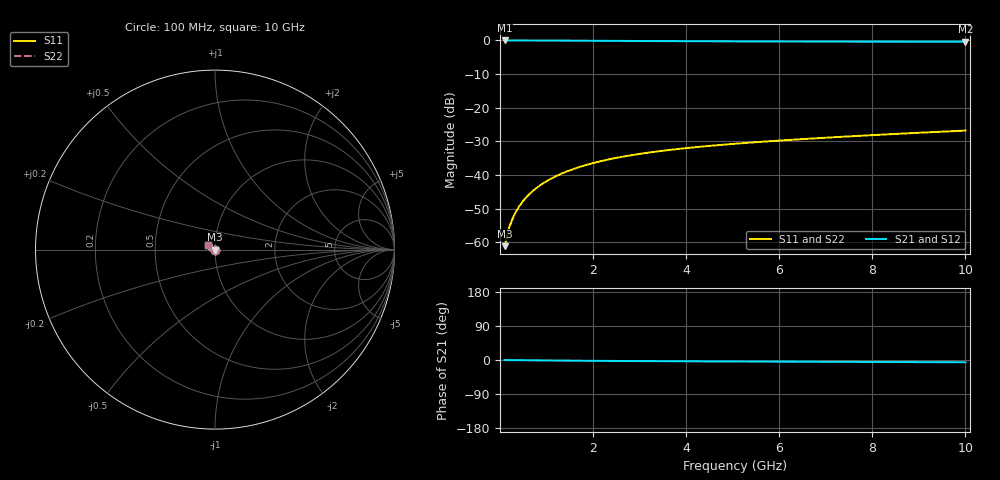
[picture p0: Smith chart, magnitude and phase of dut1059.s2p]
! Touchstone file exported from HFSS 2024.1.0
!  File:  C:/UserFiles/LocalFiles/RDL_TSV_Batchsim/temp_TSV1_1059_1780063456.aedt
!  Generated:  10:11:16 PM May 29, 2026
!  Design:  TSV1
!  Project:  temp_TSV1_1059_1780063456
!  Setup:  Setup1
!  Solution:  Sweep
! Variables:
!  dtsv = 7.1um
!  hbump = 3um
!  htsv = 89.68um
!  lrdl = 252.1521522um
!  p = 40
!  p1 = 56.28um
!  t = 500um
!  trdl = 3um
!  wrdl = 24.89489489um
# GHz S MA R 50.000000
! Terminal data exported
! Port[1] = TSV22_T1
! Port[2] = TSV22_T2
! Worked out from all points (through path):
!   100 points, 100 MHz to 10 GHz, reference 50 ohm
!   highest |S21| = 0.00 dB at 100 MHz (marker M1); lowest = -0.4 dB at 10 GHz (marker M2)
!   lowest |S11| = -61.2 dB at 100 MHz (marker M3), VSWR 1.00, Z = 50 - j0.0832 ohm
!   |S11| at or under -10 dB: start of sweep to end of sweep
!   |S22| runs from -61.2 to -26.8 dB; largest |S21 - S12| = 6.3e-15
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0.1  0.0008752 -71.8  0.9997 -0.1  0.9997 -0.1  0.0008752 -71.8
! Gamma 0 0 0 0
! Port Impedance 50 0 50 0
0.2  0.001682 -84.0  0.9995 -0.2  0.9995 -0.2  0.001682 -84.0
0.3  0.002501 -89.8  0.9994 -0.4  0.9994 -0.4  0.002501 -89.7
0.4  0.003319 -93.8  0.9991 -0.5  0.9991 -0.5  0.003319 -93.8
0.5  0.004132 -97.1  0.9988 -0.6  0.9988 -0.6  0.004132 -97.1
0.6  0.00494 -100.0  0.9985 -0.7  0.9985 -0.7  0.00494 -100.0
0.7  0.00574 -102.7  0.9981 -0.8  0.9981 -0.8  0.00574 -102.7
0.8  0.00653 -105.3  0.9976 -1.0  0.9976 -1.0  0.00653 -105.3
0.9  0.00731 -107.8  0.9971 -1.1  0.9971 -1.1  0.00731 -107.8
1.1  0.008836 -112.5  0.9959 -1.3  0.9959 -1.3  0.008836 -112.5
1.4  0.01103 -119.2  0.9939 -1.6  0.9939 -1.6  0.01103 -119.2
1.6  0.01242 -123.4  0.9924 -1.8  0.9924 -1.8  0.01242 -123.4
1.8  0.01375 -127.5  0.9909 -2.0  0.9909 -2.0  0.01375 -127.5
2.1  0.01564 -133.3  0.9885 -2.2  0.9885 -2.2  0.01564 -133.3
2.5  0.01796 -140.6  0.9852 -2.5  0.9852 -2.5  0.01796 -140.6
2.9  0.02008 -147.3  0.9821 -2.8  0.9821 -2.8  0.02008 -147.3
3.4  0.02249 -155.1  0.9785 -3.1  0.9785 -3.1  0.02249 -155.1
4.2  0.0259 -166.0  0.9735 -3.5  0.9735 -3.5  0.0259 -166.0
5.1  0.02931 -176.5  0.9689 -3.9  0.9689 -3.9  0.02931 -176.5
6.7  0.03484 168.3  0.9631 -4.6  0.9631 -4.6  0.03484 168.3
8.4  0.04045 155.9  0.959 -5.3  0.959 -5.3  0.04045 155.9
10  0.04572 146.7  0.9563 -6.0  0.9563 -6.0  0.04572 146.7
